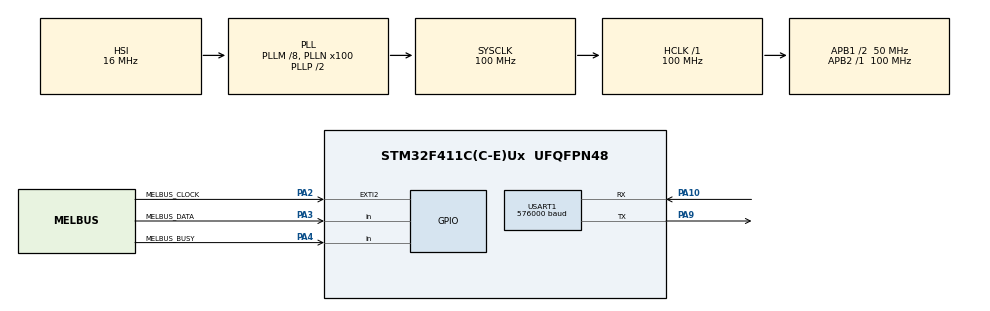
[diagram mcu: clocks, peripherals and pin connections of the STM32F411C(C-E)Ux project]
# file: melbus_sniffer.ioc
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Mcu.Family=STM32F4
Mcu.Name=STM32F411C(C-E)Ux
Mcu.Package=UFQFPN48
NVIC.EXTI2_IRQn=true\:0\:0\:false\:false\:true\:true\:true\:true
NVIC.PriorityGroup=NVIC_PRIORITYGROUP_4
NVIC.USART1_IRQn=true\:0\:0\:false\:false\:true\:true\:true\:true
PA10.Mode=Asynchronous
PA10.Signal=USART1_RX
PA13.Mode=Serial_Wire
PA13.Signal=SYS_JTMS-SWDIO
PA14.Mode=Serial_Wire
PA14.Signal=SYS_JTCK-SWCLK
PA2.GPIO_Label=MELBUS_CLOCK
PA2.Signal=GPXTI2
PA3.GPIO_Label=MELBUS_DATA
PA3.Signal=GPIO_Input
PA4.GPIO_Label=MELBUS_BUSY
PA4.Signal=GPIO_Input
PA9.Mode=Asynchronous
PA9.Signal=USART1_TX
PB3.Signal=SYS_JTDO-SWO
ProjectManager.HeapSize=0x200
ProjectManager.StackSize=0x400
ProjectManager.TargetToolchain=STM32CubeIDE
RCC.48MHZClocksFreq_Value=50000000
RCC.AHBFreq_Value=100000000
RCC.APB1CLKDivider=RCC_HCLK_DIV2
RCC.APB1Freq_Value=50000000
RCC.APB1TimFreq_Value=100000000
RCC.APB2Freq_Value=100000000
RCC.APB2TimFreq_Value=100000000
RCC.CortexFreq_Value=100000000
RCC.HCLKFreq_Value=100000000
RCC.HSE_VALUE=25000000
RCC.HSI_VALUE=16000000
RCC.LSE_VALUE=32768
RCC.PLLM=8
RCC.PLLN=100
RCC.SYSCLKFreq_VALUE=100000000
RCC.SYSCLKSource=RCC_SYSCLKSOURCE_PLLCLK
RCC.VCOOutputFreq_Value=200000000
USART1.BaudRate=576000
USART1.VirtualMode=VM_ASYNC
board=custom

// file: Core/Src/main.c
/* USER CODE BEGIN Header */
/**
  ******************************************************************************
  * @file           : main.c
  * @brief          : Main program body
  ******************************************************************************
  * @attention
  *
  * Copyright (c) 2023 STMicroelectronics.
  * All rights reserved.
  *
  * This software is licensed under terms that can be found in the LICENSE file
  * in the root directory of this software component.
  * If no LICENSE file comes with this software, it is provided AS-IS.
  *
  ******************************************************************************
  */
/* USER CODE END Header */
#include "main.h"

/* USER CODE BEGIN Includes */
#include <stdio.h>
#include <stdbool.h>
/* USER CODE END Includes */

/* USER CODE BEGIN PTD */
typedef unsigned char byte;
/* USER CODE END PTD */

/* USER CODE BEGIN PD */
#define PUTCHAR_PROTOTYPE int __io_putchar(int ch)
/* USER CODE END PD */

UART_HandleTypeDef huart1;

void SystemClock_Config(void);
static void MX_GPIO_Init(void);
static void MX_USART1_UART_Init(void);
/* USER CODE BEGIN PFP */
uint32_t DWT_Delay_Init(void);
__STATIC_INLINE void DWT_Delay_ms(volatile uint32_t au32_milliseconds)
{
  uint32_t au32_initial_ticks = DWT->CYCCNT;
  uint32_t au32_ticks = (HAL_RCC_GetHCLKFreq() / 1000);
  au32_milliseconds *= au32_ticks;
  while ((DWT->CYCCNT - au32_initial_ticks) < au32_milliseconds);
}
/* USER CODE END PFP */

/* USER CODE BEGIN 0 */
volatile byte melbus_ReceivedByte = 0;
volatile byte melbus_Bitposition = 7;
volatile bool byteIsRead = false;
PUTCHAR_PROTOTYPE
{
  /* Place your implementation of fputc here */
  /* e.g. write a character to the USART1 and Loop until the end of transmission */
  HAL_UART_Transmit(&huart1, (uint8_t *)&ch, 1, 0xFFFF);

  return ch;
}
/* USER CODE END 0 */

int main(void)
{
  /* USER CODE BEGIN 1 */
	//static byte lastByte = 0;
	bool print = false;
  /* USER CODE END 1 */

  /* MCU Configuration--------------------------------------------------------*/

  /* Reset of all peripherals, Initializes the Flash interface and the Systick. */
  HAL_Init();

  /* Configure the system clock */
  SystemClock_Config();

  /* USER CODE BEGIN SysInit */
  DWT_Delay_Init();
  /* USER CODE END SysInit */

  /* Initialize all configured peripherals */
  MX_GPIO_Init();
  MX_USART1_UART_Init();
  /* USER CODE BEGIN 2 */
  printf("Sniffer started\r\n");
  /* USER CODE END 2 */

  /* Infinite loop */
  while (1)
  {

    /* USER CODE BEGIN 3 */
	//  byte melbus_log[99];
	 // byte byteCounter = 1;
	  bool busy = HAL_GPIO_ReadPin(GPIOA, GPIO_PIN_4);
	  while (!busy) {
		  if (byteIsRead) {
			  byteIsRead = false;
	//		  lastByte = melbus_ReceivedByte;
	//		  melbus_log[byteCounter - 1] = lastByte;
			  printf("0x%02X  ", melbus_ReceivedByte);
			  print = true;
		  }
		  busy = HAL_GPIO_ReadPin(GPIOA, GPIO_PIN_4);
	  }
	  if (print) {
		  print = false;
	  printf("\r\n\n");
	  }
  }
  /* USER CODE END 3 */
}

void SystemClock_Config(void)
{
  RCC_OscInitTypeDef RCC_OscInitStruct = {0};
  RCC_ClkInitTypeDef RCC_ClkInitStruct = {0};

  /** Configure the main internal regulator output voltage
  */
  __HAL_RCC_PWR_CLK_ENABLE();
  __HAL_PWR_VOLTAGESCALING_CONFIG(PWR_REGULATOR_VOLTAGE_SCALE1);

  /** Initializes the RCC Oscillators according to the specified parameters
  * in the RCC_OscInitTypeDef structure.
  */
  RCC_OscInitStruct.OscillatorType = RCC_OSCILLATORTYPE_HSI;
  RCC_OscInitStruct.HSIState = RCC_HSI_ON;
  RCC_OscInitStruct.HSICalibrationValue = RCC_HSICALIBRATION_DEFAULT;
  RCC_OscInitStruct.PLL.PLLState = RCC_PLL_ON;
  RCC_OscInitStruct.PLL.PLLSource = RCC_PLLSOURCE_HSI;
  RCC_OscInitStruct.PLL.PLLM = 8;
  RCC_OscInitStruct.PLL.PLLN = 100;
  RCC_OscInitStruct.PLL.PLLP = RCC_PLLP_DIV2;
  RCC_OscInitStruct.PLL.PLLQ = 4;
  if (HAL_RCC_OscConfig(&RCC_OscInitStruct) != HAL_OK)
  {
    Error_Handler();
  }

  /** Initializes the CPU, AHB and APB buses clocks
  */
  RCC_ClkInitStruct.ClockType = RCC_CLOCKTYPE_HCLK|RCC_CLOCKTYPE_SYSCLK
                              |RCC_CLOCKTYPE_PCLK1|RCC_CLOCKTYPE_PCLK2;
  RCC_ClkInitStruct.SYSCLKSource = RCC_SYSCLKSOURCE_PLLCLK;
  RCC_ClkInitStruct.AHBCLKDivider = RCC_SYSCLK_DIV1;
  RCC_ClkInitStruct.APB1CLKDivider = RCC_HCLK_DIV2;
  RCC_ClkInitStruct.APB2CLKDivider = RCC_HCLK_DIV1;

  if (HAL_RCC_ClockConfig(&RCC_ClkInitStruct, FLASH_LATENCY_3) != HAL_OK)
  {
    Error_Handler();
  }
}

static void MX_USART1_UART_Init(void)
{

  huart1.Instance = USART1;
  huart1.Init.BaudRate = 576000;
  huart1.Init.WordLength = UART_WORDLENGTH_8B;
  huart1.Init.StopBits = UART_STOPBITS_1;
  huart1.Init.Parity = UART_PARITY_NONE;
  huart1.Init.Mode = UART_MODE_TX_RX;
  huart1.Init.HwFlowCtl = UART_HWCONTROL_NONE;
  huart1.Init.OverSampling = UART_OVERSAMPLING_16;
  if (HAL_UART_Init(&huart1) != HAL_OK)
  {
    Error_Handler();
  }

}

static void MX_GPIO_Init(void)
{
  GPIO_InitTypeDef GPIO_InitStruct = {0};

  /* GPIO Ports Clock Enable */
  __HAL_RCC_GPIOA_CLK_ENABLE();
  __HAL_RCC_GPIOB_CLK_ENABLE();

  /*Configure GPIO pin : MELBUS_CLOCK_Pin */
  GPIO_InitStruct.Pin = MELBUS_CLOCK_Pin;
  GPIO_InitStruct.Mode = GPIO_MODE_IT_RISING;
  GPIO_InitStruct.Pull = GPIO_NOPULL;
  HAL_GPIO_Init(MELBUS_CLOCK_GPIO_Port, &GPIO_InitStruct);

  /*Configure GPIO pins : MELBUS_DATA_Pin MELBUS_BUSY_Pin */
  GPIO_InitStruct.Pin = MELBUS_DATA_Pin|MELBUS_BUSY_Pin;
  GPIO_InitStruct.Mode = GPIO_MODE_INPUT;
  GPIO_InitStruct.Pull = GPIO_NOPULL;
  HAL_GPIO_Init(GPIOA, &GPIO_InitStruct);

  /* EXTI interrupt init*/
  HAL_NVIC_SetPriority(EXTI2_IRQn, 0, 0);
  HAL_NVIC_EnableIRQ(EXTI2_IRQn);

}

/* USER CODE BEGIN 4 */
uint32_t DWT_Delay_Init(void)
{
    /* Disable TRC */
    CoreDebug->DEMCR &= ~CoreDebug_DEMCR_TRCENA_Msk; // ~0x01000000;
    /* Enable TRC */
    CoreDebug->DEMCR |=  CoreDebug_DEMCR_TRCENA_Msk; // 0x01000000;

    /* Disable clock cycle counter */
    DWT->CTRL &= ~DWT_CTRL_CYCCNTENA_Msk; //~0x00000001;
    /* Enable  clock cycle counter */
    DWT->CTRL |=  DWT_CTRL_CYCCNTENA_Msk; //0x00000001;

    /* Reset the clock cycle counter value */
    DWT->CYCCNT = 0;

    /* 3 NO OPERATION instructions */
    __ASM volatile ("NOP");
    __ASM volatile ("NOP");
    __ASM volatile ("NOP");

    /* Check if clock cycle counter has started */
    if(DWT->CYCCNT)
    {
       return 0; /*clock cycle counter started*/
    }
    else
    {
      return 1; /*clock cycle counter not started*/
    }
}

void HAL_GPIO_EXTI_Callback(uint16_t pin) {
	if (pin == GPIO_PIN_2) {
		//Read status of Datapin and set status of current bit in recv_byte
		if (HAL_GPIO_ReadPin(GPIOA, GPIO_PIN_3) == GPIO_PIN_SET) {
			melbus_ReceivedByte |= (1 << melbus_Bitposition); //set bit nr [melbus_Bitposition] to "1"
		}
		else {
			melbus_ReceivedByte &= ~(1 << melbus_Bitposition); //set bit nr [melbus_Bitposition] to "0"
		}

		//if all the bits in the byte are read:
		if (melbus_Bitposition == 0) {
			//set bool to true to evaluate the bytes in main loop
			byteIsRead = true;

			//Reset bitcount to first bit in byte
			melbus_Bitposition = 7;
		}
		else {
			//set bitnumber to address of next bit in byte
			melbus_Bitposition--;
		}
	}
}
/* USER CODE END 4 */

void Error_Handler(void)
{
  __disable_irq();
  while (1)
  {
  }
}
